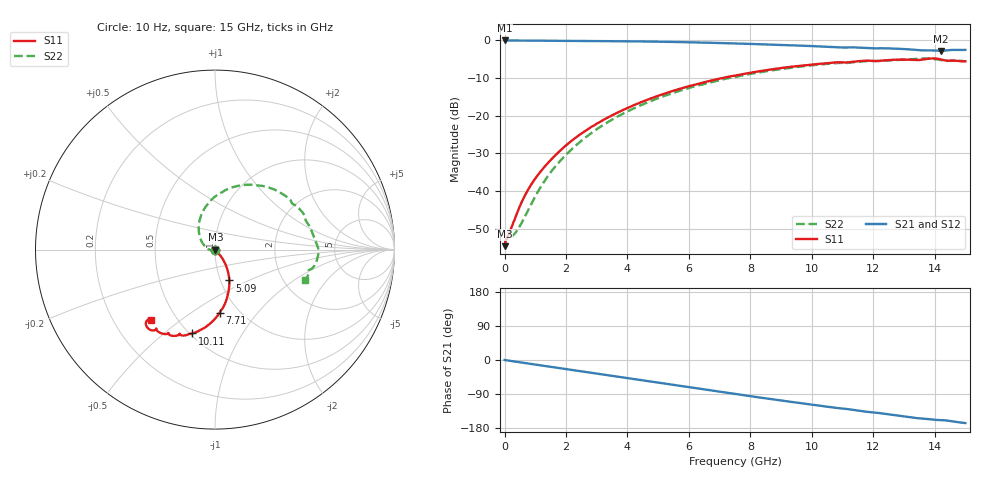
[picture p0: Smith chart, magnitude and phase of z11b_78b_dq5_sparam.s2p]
![Disclaimer] This software code/ model/ data and all associated documentation, comments
!    or other information (collectively "Software") is provided
!    "AS IS" without warranty of any kind. MICRON TECHNOLOGY, INC.
!   ("MTI") EXPRESSLY DISCLAIMS ALL WARRANTIES EXPRESS OR IMPLIED,
!    INCLUDING BUT NOT LIMITED TO, NONINFRINGEMENT OF THIRD PARTY
!   RIGHTS, AND ANY IMPLIED WARRANTIES OF MERCHANTABILITY OR FITNESS
!    FOR ANY PARTICULAR PURPOSE. MTI DOES NOT WARRANT THAT THE
!    SOFTWARE WILL MEET YOUR REQUIREMENTS, OR THAT THE OPERATION OF
!    THE SOFTWARE WILL BE UNINTERRUPTED OR ERROR-FREE. FURTHERMORE,
!    MTI DOES NOT MAKE ANY REPRESENTATIONS REGARDING THE USE OR THE
!    RESULTS OF THE USE OF THE SOFTWARE IN TERMS OF ITS CORRECTNESS,
!    ACCURACY, RELIABILITY, OR OTHERWISE. THE ENTIRE RISK ARISING OUT
!    OF USE OR PERFORMANCE OF THE SOFTWARE REMAINS WITH YOU. IN NO
!    EVENT SHALL MTI, ITS AFFILIATED COMPANIES OR THEIR SUPPLIERS BE
!    LIABLE FOR ANY DIRECT, INDIRECT, CONSEQUENTIAL, INCIDENTAL, OR
!    SPECIAL DAMAGES (INCLUDING, WITHOUT LIMITATION, DAMAGES FOR LOSS
!    OF PROFITS, BUSINESS INTERRUPTION, OR LOSS OF INFORMATION)
!    ARISING OUT OF YOUR USE OF OR INABILITY TO USE THE SOFTWARE,
!    EVEN IF MTI HAS BEEN ADVISED OF THE POSSIBILITY OF SUCH DAMAGES.
!    Because some jurisdictions prohibit the exclusion or limitation
!    of liability for consequential or incidental damages, the above
!    limitation may not apply to you.
!    Copyright 2019 Micron Technology, Inc. All rights reserved.
! Single-ended  S-parameters
!NUMBER OF PORTS = 2
!  PORT#  PORT_NAME  NET_NAME
! PORT1:  DQ5.BGA.VDDQ_VSS DQ5
! PORT2:  DQ5.Z11B_DIE.VDDQ_VSS DQ5
# HZ S  RI R 5.000000e+001
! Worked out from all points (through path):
!   1701 points, 10 Hz to 15 GHz, reference 50 ohm
!   highest |S21| = -0.02 dB at 5.012 kHz (marker M1); lowest = -2.8 dB at 14.19 GHz (marker M2)
!   group delay of S21, straight-line fit = 31.6 ps
!   lowest |S11| = -54.6 dB at 10 Hz (marker M3), VSWR 1.00, Z = 50.2 + j5.59e-08 ohm
!   |S11| at or under -10 dB: start of sweep to 7.084 GHz
!   |S22| runs from -54.6 to -4.8 dB; largest |S21 - S12| = 0
!   S11 on the Smith chart (normalised r, x): 10 Hz: 1.00, +0.00; 5.09 GHz: 1.10, -0.39; 7.71 GHz: 0.81, -0.66; 10.11 GHz: 0.52, -0.63; 15 GHz: 0.36, -0.39
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10  0.00186 5.57e-10  0.9981 -2.9e-09  0.9981 -2.9e-09  0.00186 5.6e-10
5011.87  0.00186 2.79e-07  0.9981 -1.45e-06  0.9981 -1.45e-06  0.00186 2.8e-07
5.01187e7  0.00228 -0.00018  0.9975 -0.011  0.9975 -0.011  0.00224 -0.000156
3e8  0.00329 -0.00226  0.9945 -0.0642  0.9945 -0.0642  0.00175 -0.00198
5.1e8  0.00484 -0.00434  0.9894 -0.1081  0.9894 -0.1081  0.000463 -0.00348
9.5e8  0.00946 -0.00997  0.9731 -0.1977  0.9731 -0.1977  -0.00505 -0.00599
1.28e9  0.014 -0.0151  0.956 -0.2635  0.956 -0.2635  -0.0116 -0.00646
1.62e9  0.0197 -0.0213  0.9336 -0.3301  0.9336 -0.3301  -0.0199 -0.00502
2.51e9  0.0378 -0.0446  0.8525 -0.4934  0.8525 -0.4934  -0.046 0.0091
3.63e9  0.0612 -0.0887  0.7095 -0.672  0.7095 -0.672  -0.0785 0.0538
5.01e9  0.0791 -0.1667  0.4798 -0.8331  0.4798 -0.8331  -0.0888 0.1468
5.09e9  0.0795 -0.172  0.4651 -0.8401  0.4651 -0.8401  -0.0878 0.153
6.35e9  0.07 -0.259  0.2252 -0.9102  0.2252 -0.9102  -0.0421 0.252
7.51e9  0.0331 -0.3396  0.00464 -0.9102  0.00464 -0.9102  0.0463 0.324
7.71e9  0.0255 -0.3532  -0.0331 -0.9052  -0.0331 -0.9052  0.0652 0.3345
8.85e9  -0.0366 -0.4198  -0.2292 -0.8439  -0.2292 -0.8439  0.1894 0.3616
1.001e10  -0.1179 -0.4646  -0.395 -0.7416  -0.395 -0.7416  0.3237 0.3373
1.011e10  -0.1258 -0.467  -0.4074 -0.731  -0.4074 -0.731  0.3354 0.3325
1.251e10  -0.284 -0.4701  -0.631 -0.463  -0.631 -0.463  0.5272 0.1282
1.357e10  -0.3293 -0.445  -0.6633 -0.3218  -0.6633 -0.3218  0.5765 -0.00753
1.419e10  -0.3853 -0.408  -0.6768 -0.2641  -0.6768 -0.2641  0.5391 -0.1061
1.5e10  -0.3556 -0.3908  -0.7272 -0.176  -0.7272 -0.176  0.5031 -0.1681
